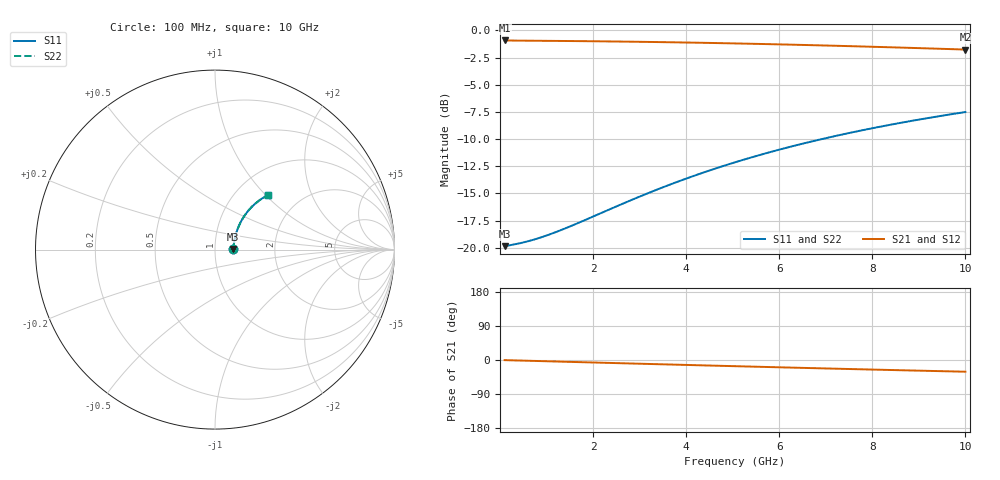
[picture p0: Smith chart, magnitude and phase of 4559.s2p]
# Hz S RI R 50.00
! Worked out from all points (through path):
!   100 points, 100 MHz to 10 GHz, reference 50 ohm
!   highest |S21| = -0.93 dB at 100 MHz (marker M1); lowest = -1.8 dB at 10 GHz (marker M2)
!   group delay of S21, straight-line fit = 8.62 ps
!   lowest |S11| = -19.9 dB at 100 MHz (marker M3), VSWR 1.23, Z = 61.3 + j0.498 ohm
!   |S11| at or under -10 dB: start of sweep to 6.922 GHz
!   |S22| runs from -19.9 to -7.5 dB; largest |S21 - S12| = 0
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1e8  0.1015 0.00402  0.8984 -0.00518  0.8984 -0.00518  0.1015 0.00402
3e8  0.1028 0.012  0.8972 -0.0155  0.8972 -0.0155  0.1028 0.012
5e8  0.1038 0.02  0.8962 -0.0258  0.8962 -0.0258  0.1038 0.02
7e8  0.1048 0.0279  0.8951 -0.036  0.8951 -0.036  0.1048 0.0279
9e8  0.106 0.0359  0.894 -0.0463  0.894 -0.0463  0.106 0.0359
1.1e9  0.1072 0.0437  0.8927 -0.0565  0.8927 -0.0565  0.1072 0.0437
1.3e9  0.1086 0.0516  0.8913 -0.0666  0.8913 -0.0666  0.1086 0.0516
1.8e9  0.1127 0.071  0.887 -0.0918  0.887 -0.0918  0.1127 0.071
2.7e9  0.1226 0.105  0.8768 -0.1363  0.8768 -0.1363  0.1226 0.105
3.4e9  0.1325 0.1305  0.8667 -0.1699  0.8667 -0.1699  0.1325 0.1305
3.8e9  0.1389 0.1446  0.86 -0.1886  0.86 -0.1886  0.1389 0.1446
4.2e9  0.1459 0.1583  0.8528 -0.207  0.8528 -0.207  0.1459 0.1583
4.6e9  0.1535 0.1716  0.845 -0.2249  0.845 -0.2249  0.1535 0.1716
5.1e9  0.1636 0.1876  0.8345 -0.2468  0.8345 -0.2468  0.1636 0.1876
5.5e9  0.1723 0.1999  0.8255 -0.2637  0.8255 -0.2637  0.1723 0.1999
5.9e9  0.1814 0.2117  0.8161 -0.2802  0.8161 -0.2802  0.1814 0.2117
6.3e9  0.1909 0.223  0.8062 -0.2962  0.8062 -0.2962  0.1909 0.223
6.7e9  0.2008 0.2338  0.7959 -0.3117  0.7959 -0.3117  0.2008 0.2338
7.5e9  0.2217 0.2538  0.7743 -0.341  0.7743 -0.341  0.2217 0.2538
8.4e9  0.2464 0.2737  0.7485 -0.3715  0.7485 -0.3715  0.2464 0.2737
9.2e9  0.2693 0.289  0.7246 -0.3964  0.7246 -0.3964  0.2693 0.289
1e10  0.2928 0.3022  0.6999 -0.419  0.6999 -0.419  0.2928 0.3022
